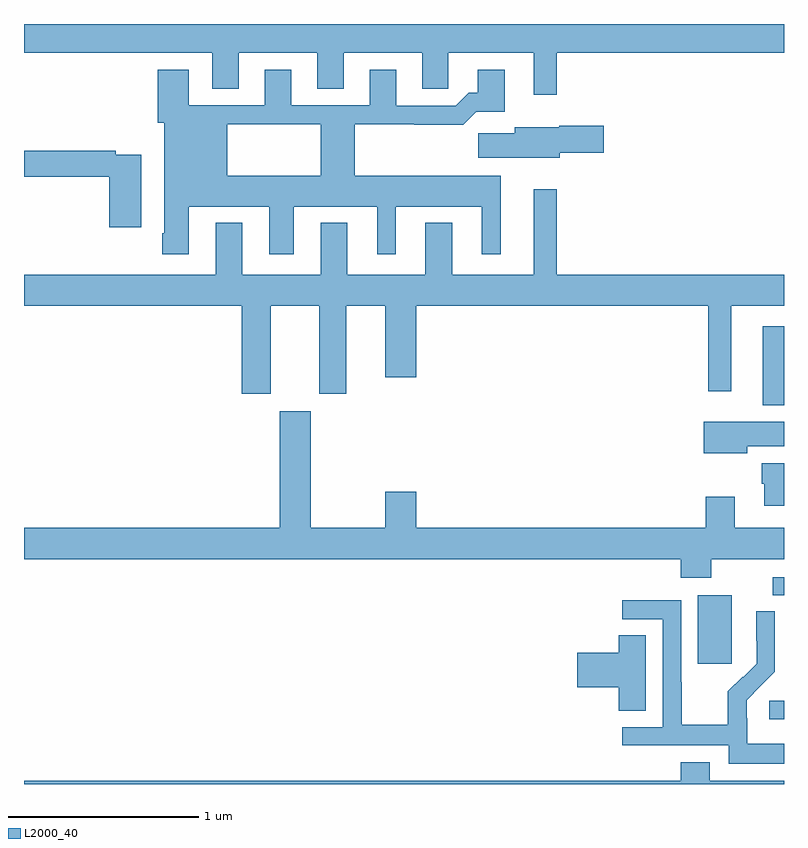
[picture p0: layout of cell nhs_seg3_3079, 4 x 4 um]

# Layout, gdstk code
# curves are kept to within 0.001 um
import gdstk
lib = gdstk.Library(unit=1e-6, precision=1e-09)
def R(c, l, rs):  # rectangles x0, y0, x1, y1
    for r in rs: c.add(gdstk.rectangle(r[:2], r[2:], *l))
def P(c, l, *ps):  # polygons
    for p in ps: c.add(gdstk.Polygon(p, *l))
L2000_40 = (2000, 40)

nhs_seg3_3079 = lib.new_cell('nhs_seg3_3079')
R(nhs_seg3_3079, L2000_40, [(274.923,698.741,275,698.838), (274.547,699.033,274.726,699.394), (274.941,699.393,275,699.489), (274.889,700.394,275,700.81)])
P(nhs_seg3_3079, L2000_40, [(273.805,702.248),(275,702.248),(275,702.4),(271,702.4),(271,702.248),(271.991,702.248),(271.991,702.058),(272.131,702.058),(272.131,702.248),(272.543,702.248),(272.543,702.058),(272.683,702.058),(272.683,702.248),(273.095,702.248),(273.095,702.058),(273.234,702.058),(273.234,702.248),(273.683,702.248),(273.683,702.027),(273.805,702.027)],
  [(271.727,701.299),(271.727,701.187),(271.867,701.187),(271.867,701.438),(272.291,701.438),(272.291,701.187),(272.419,701.187),(272.419,701.438),(272.858,701.438),(272.858,701.187),(272.956,701.187),(272.956,701.438),(273.41,701.438),(273.41,701.187),(273.508,701.187),(273.508,701.602),(272.741,701.602),(272.741,701.872),(273.055,701.872),(273.055,701.87),(273.311,701.87),(273.38,701.939),(273.529,701.939),(273.529,702.16),(273.389,702.16),(273.389,702.037),(273.34,702.037),(273.273,701.97),(272.959,701.97),(272.959,702.16),(272.819,702.16),(272.819,701.973),(272.407,701.973),(272.407,702.16),(272.267,702.16),(272.267,701.973),(271.867,701.973),(271.867,702.16),(271.703,702.16),(271.703,701.88),(271.739,701.88),(271.739,701.602),(272.071,701.602),(272.071,701.872),(272.563,701.872),(272.563,701.602),(271.739,701.602),(271.739,701.299)],
  [(273.82,701.723),(274.051,701.723),(274.051,701.865),(273.816,701.865),(273.816,701.857),(273.584,701.857),(273.584,701.825),(273.39,701.825),(273.39,701.696),(273.82,701.696)],
  [(271.618,701.712),(271.484,701.712),(271.484,701.732),(271,701.732),(271,701.596),(271.448,701.596),(271.448,701.331),(271.618,701.331)],
  [(272.299,700.916),(272.555,700.916),(272.555,700.455),(272.695,700.455),(272.695,700.916),(272.9,700.916),(272.9,700.542),(273.064,700.542),(273.064,700.916),(274.602,700.916),(274.602,700.467),(274.723,700.467),(274.723,700.916),(275,700.916),(275,701.08),(273.805,701.08),(273.805,701.53),(273.683,701.53),(273.683,701.08),(273.253,701.08),(273.253,701.353),(273.113,701.353),(273.113,701.08),(272.701,701.08),(272.701,701.353),(272.561,701.353),(272.561,701.08),(272.149,701.08),(272.149,701.353),(272.009,701.353),(272.009,701.08),(271,701.08),(271,700.916),(272.147,700.916),(272.147,700.455),(272.299,700.455)],
  [(272.9,699.937),(272.9,699.748),(272.509,699.748),(272.509,700.363),(272.345,700.363),(272.345,699.748),(271,699.748),(271,699.584),(274.457,699.584),(274.457,699.485),(274.617,699.485),(274.617,699.584),(275,699.584),(275,699.748),(274.741,699.748),(274.741,699.913),(274.589,699.913),(274.589,699.748),(273.064,699.748),(273.064,699.937)],
  [(274.807,700.178),(275,700.178),(275,700.306),(274.578,700.306),(274.578,700.142),(274.807,700.142)],
  [(275,700.089),(274.883,700.089),(274.883,699.981),(274.895,699.981),(274.895,699.864),(275,699.864)],
  [(275,698.611),(274.806,698.611),(274.806,698.745),(274.804,698.745),(274.804,698.842),(274.95,698.99),(274.95,699.308),(274.854,699.308),(274.854,699.154),(274.856,699.154),(274.856,699.032),(274.785,698.961),(274.782,698.964),(274.705,698.887),(274.705,698.713),(274.461,698.713),(274.461,698.936),(274.458,698.936),(274.458,699.366),(274.149,699.366),(274.149,699.267),(274.362,699.267),(274.362,698.7),(274.149,698.7),(274.149,698.604),(274.71,698.604),(274.71,698.507),(275,698.507)],
  [(274.273,699.182),(274.13,699.182),(274.13,699.092),(273.912,699.092),(273.912,698.909),(274.13,698.909),(274.13,698.785),(274.273,698.785)],
  [(275,698.416),(274.609,698.416),(274.609,698.515),(274.457,698.515),(274.457,698.416),(271,698.416),(271,698.4),(275,698.4)])

lib.write_gds('nhs_seg3_3079.gds')
